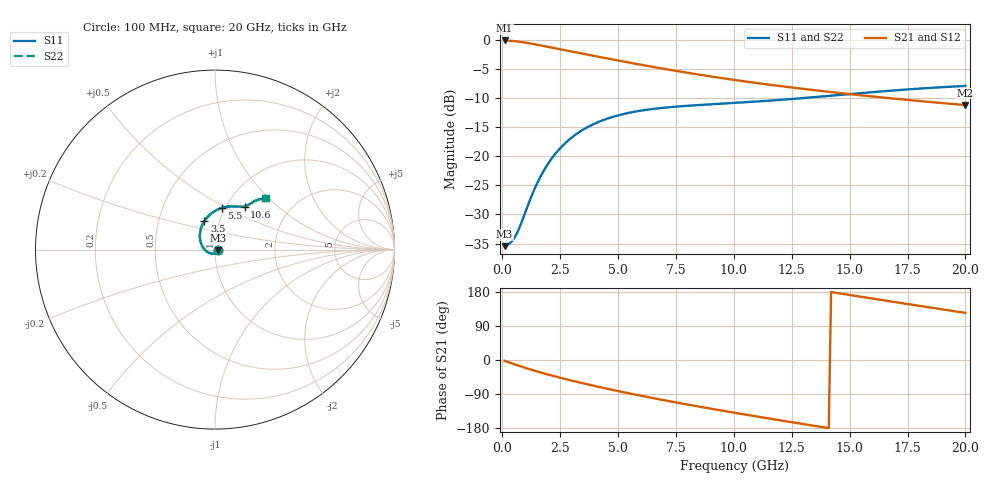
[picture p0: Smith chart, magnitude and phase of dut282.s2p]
! Touchstone file exported from HFSS 2023.1.0
!  File:  D:/Users/fzz/RDL_TSV/temp_RDL_TSV_282_1778762708.aedt
!  Generated:  8:58:02 %x4E0B%x5348  5%x6708 14, 2026
!  Design:  RDL_TSV
!  Project:  temp_RDL_TSV_282_1778762708
!  Setup:  Setup1
!  Solution:  Sweep
! Variables:
!  dtsv = 14.52um
!  hbump = 3um
!  htsv = 97.13um
!  ldown = 250um
!  lrdl = 527.88um
!  p = 40
!  p1 = 44.73um
!  rhole = 10um
!  subl = 2861.52um
!  t = 450um
!  tdown = 4.16um
!  trdl = 4.97um
!  viad = 10um
!  wdown = 28.75um
!  wrdl = 10.46um
!  xbump = 18um
# GHz S MA R 50.000000
! Terminal data exported
! Port[1] = TM1_1_T1
! Port[2] = TM1_4_T1
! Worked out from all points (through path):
!   200 points, 100 MHz to 20 GHz, reference 50 ohm
!   highest |S21| = -0.15 dB at 100 MHz (marker M1); lowest = -11.2 dB at 20 GHz (marker M2)
!   group delay of S21, straight-line fit = 30.8 ps
!   lowest |S11| = -35.4 dB at 100 MHz (marker M3), VSWR 1.03, Z = 51.7 - j0.407 ohm
!   |S11| at or under -10 dB: start of sweep to 13.11 GHz
!   |S22| runs from -35.4 to -7.9 dB; largest |S21 - S12| = 4.6e-14
!   S11 on the Smith chart (normalised r, x): 100 MHz: 1.03, -0.01; 3.5 GHz: 0.85, +0.28; 5.5 GHz: 0.97, +0.48; 10.6 GHz: 1.21, +0.63; 20 GHz: 1.41, +0.95
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0.1  0.0169 -13.5  0.9825 -2.2  0.9825 -2.2  0.0169 -13.5
! Gamma 0 0 0 0
! Port Impedance 50 0 50 0
0.4  0.01845 -58.5  0.9745 -8.7  0.9745 -8.7  0.01845 -58.5
0.6  0.02112 -90.0  0.9656 -12.8  0.9656 -12.8  0.02111 -90.0
1.1  0.0376 -150.8  0.9341 -22.8  0.9341 -22.8  0.03759 -150.8
1.4  0.05267 -174.1  0.9114 -28.4  0.9114 -28.4  0.05266 -174.1
1.7  0.06967 168.3  0.8877 -33.7  0.8877 -33.7  0.06967 168.3
2.1  0.09347 150.3  0.856 -40.4  0.856 -40.4  0.09346 150.3
2.5  0.117 136.2  0.8253 -46.8  0.8253 -46.8  0.117 136.1
3  0.1446 122.0  0.7886 -54.4  0.7886 -54.4  0.1446 122.0
3.5  0.1692 110.5  0.7541 -61.6  0.7541 -61.6  0.1692 110.5
4.4  0.2053 94.5  0.6965 -74.1  0.6965 -74.1  0.2052 94.5
5.5  0.236 80.4  0.6336 -88.3  0.6336 -88.3  0.2359 80.4
6.8  0.2581 69.2  0.5693 -104.0  0.5693 -104.0  0.258 69.2
8.4  0.2736 60.9  0.5039 -122.0  0.5039 -122.0  0.2735 60.9
10.1  0.2863 56.3  0.4483 -140.0  0.4483 -140.0  0.2862 56.3
10.6  0.2904 55.4  0.4342 -145.1  0.4342 -145.1  0.2903 55.5
11.9  0.3026 53.9  0.4014 -158.2  0.4014 -158.2  0.3025 54.0
13.4  0.3198 52.7  0.3694 -173.0  0.3694 -173.0  0.3199 52.8
15.1  0.3422 51.2  0.3389 170.6  0.3389 170.6  0.3424 51.3
16.7  0.3635 49.5  0.3145 155.3  0.3145 155.3  0.3639 49.5
18.3  0.383 47.5  0.2935 140.2  0.2935 140.2  0.3836 47.6
20  0.4003 45.4  0.2741 124.3  0.2741 124.3  0.4011 45.4
